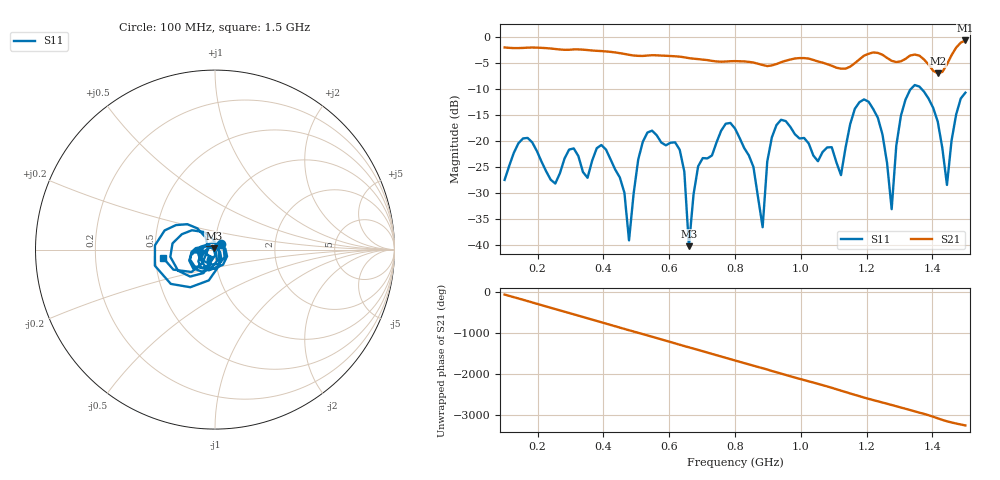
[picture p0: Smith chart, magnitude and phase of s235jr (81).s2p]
! NanoVNA-App
! Date: 2025-09-25 15:04:47
! Start: 100MHz Stop: 1,5GHz Points: 101
! S-Parameter data: F S11 S21 S12 S22
# Hz S RI R 50
!  Frequency  S11_Real  S11_Imag  S21_Real  S21_Imag  S12_Real  S12_Imag  S22_Real  S22_Imag
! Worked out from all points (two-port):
!   101 points, 100 MHz to 1.5 GHz, reference 50 ohm
!   highest |S21| = -0.61 dB at 1.5 GHz (marker M1); lowest = -6.9 dB at 1.416 GHz (marker M2)
!   |S21| within 3 dB of the highest: start of sweep to 604.4 MHz; 1.191 GHz to 1.254 GHz (62.97 MHz wide, 5.15 % of centre) (the widest 2 of 4)
!   lowest |S11| = -40.2 dB at 660 MHz (marker M3), VSWR 1.02, Z = 49.3 + j0.647 ohm
!   |S11| at or under -10 dB: start of sweep to 1.334 GHz; 1.367 GHz to end of sweep
!   S12 and S22 are empty: the file has one direction only
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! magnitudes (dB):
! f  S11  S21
! 100 MHz  -27.5  -2.0
! 170 MHz  -19.4  -2.0
! 338 MHz  -26.0  -2.4
! 408 MHz  -21.6  -2.7
! 478 MHz  -39.1  -3.4
! 520 MHz  -20.1  -3.6
! 576 MHz  -20.3  -3.5
! 632 MHz  -21.7  -3.7
! 660 MHz  -40.2  -4.0
! 688 MHz  -24.9  -4.2
! 800 MHz  -17.6  -4.6
! 884 MHz  -36.6  -5.3
! 926 MHz  -16.9  -5.2
! 1.038 GHz  -22.8  -4.4
! 1.122 GHz  -26.6  -6.0
! 1.206 GHz  -12.4  -3.2
! 1.276 GHz  -33.1  -4.5
! 1.304 GHz  -15.1  -4.6
! 1.332 GHz  -10.1  -3.5
! 1.416 GHz  -16.3  -6.9
! 1.444 GHz  -28.4  -5.2
! 1.5 GHz  -10.7  -0.6
